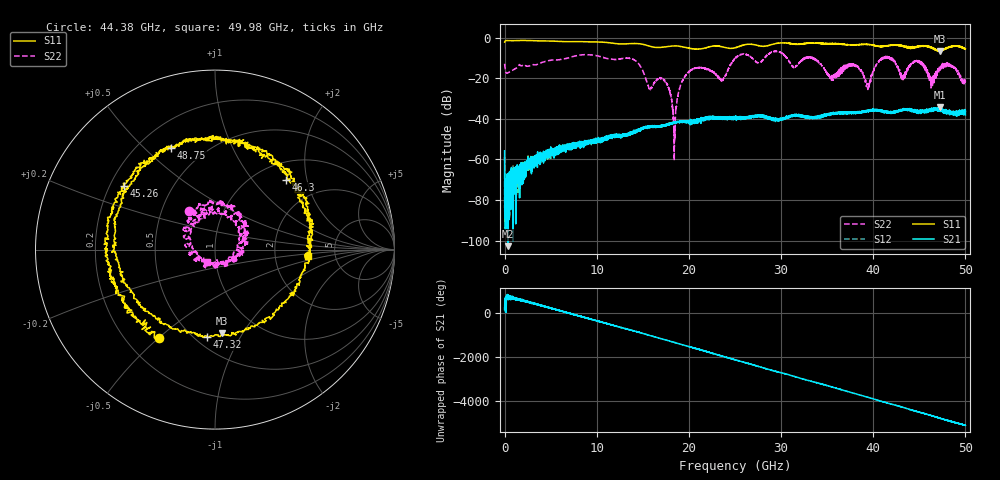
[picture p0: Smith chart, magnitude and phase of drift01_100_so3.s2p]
!Created with skrf (http://scikit-rf.org).
# Hz S RI R 50.0
!freq ReS11 ImS11 ReS21 ImS21 ReS12 ImS12 ReS22 ImS22
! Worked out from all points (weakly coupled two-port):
!   10001 points, 300 kHz to 50 GHz, reference 50 ohm
!   highest |S21| = -34.31 dB at 47.2 GHz (marker M1); lowest = -102.8 dB at 395.3 MHz (marker M2)
!   lowest |S11| = -6.6 dB at 47.26 GHz (marker M3), VSWR 2.76, Z = 34.2 - j40.9 ohm
!   |S11| at or under -10 dB: nowhere
!   |S22| runs from -60.5 to -6.6 dB; largest |S21 - S12| = 0.0035
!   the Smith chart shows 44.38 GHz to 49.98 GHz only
!   S11 on the Smith chart (normalised r, x): 44.38 GHz: 0.34, -0.50; 45.26 GHz: 0.26, +0.30; 46.3 GHz: 1.35, +1.51; 47.32 GHz: 0.57, -0.73; 48.75 GHz: 0.33, +0.61; 49.98 GHz: 3.14, -0.33
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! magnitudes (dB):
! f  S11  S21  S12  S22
! 300 kHz  -2.1  -55.8  -58.7  -12.9
! 395.3 MHz  -1.4  -102.8  -71.1  -17.2
! 8.335 GHz  -1.9  -51.7  -52.2  -8.5
! 16.67 GHz  -4.8  -44.0  -43.6  -20.0
! 17.74 GHz  -4.4  -42.8  -42.6  -23.9
! 18.43 GHz  -4.1  -41.9  -41.7  -49.8
! 19.9 GHz  -5.1  -41.6  -41.7  -17.2
! 23.6 GHz  -4.5  -39.8  -39.2  -20.7
! 25 GHz  -5.0  -39.5  -39.4  -10.3
! 33.34 GHz  -2.6  -39.3  -39.4  -9.9
! 39.46 GHz  -3.3  -36.0  -36.0  -23.3
! 41.67 GHz  -3.8  -36.7  -36.9  -10.0
! 43.19 GHz  -4.2  -35.5  -35.8  -19.4
! 44.38 GHz  -4.7  -36.3  -36.3  -11.8
! 45.26 GHz  -4.2  -36.4  -36.5  -12.4
! 46.3 GHz  -5.1  -35.9  -35.4  -23.1
! 47.2 GHz  -6.4  -34.3  -35.5  -14.5
! 47.26 GHz  -6.6  -36.1  -35.4  -16.0
! 47.32 GHz  -6.2  -35.3  -35.8  -14.6
! 48.75 GHz  -4.2  -37.8  -37.3  -14.7
! 49.98 GHz  -5.7  -36.1  -36.6  -21.5
! 50 GHz  -5.4  -38.0  -36.7  -21.7
